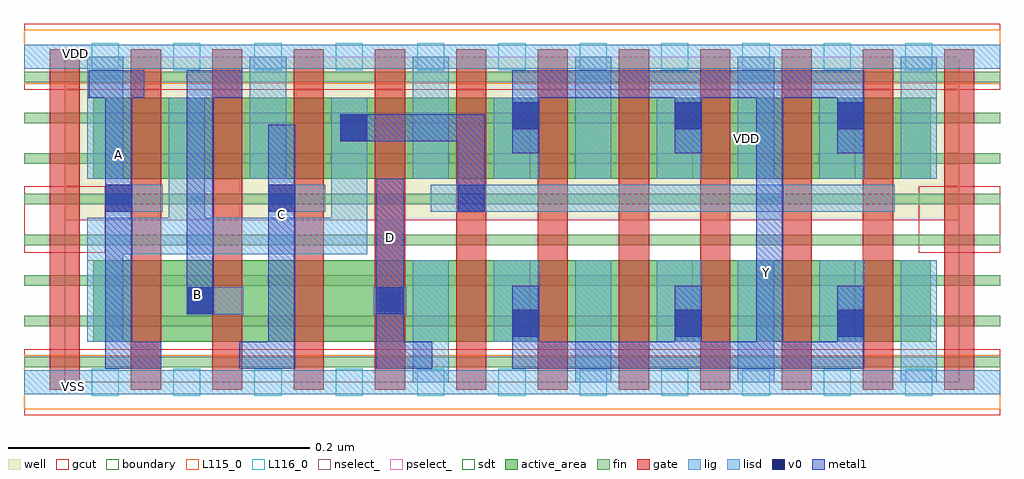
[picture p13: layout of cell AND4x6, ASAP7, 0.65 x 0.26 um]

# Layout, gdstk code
import gdstk
lib = gdstk.Library(unit=1e-6, precision=2.5e-10)
def R(c, l, rs):  # rectangles x0, y0, x1, y1
    for r in rs: c.add(gdstk.rectangle(r[:2], r[2:], *l))
def A(c, l, x, y, w, h, nx, ny, dx, dy):  # array of equal rectangles
    R(c, l, [(x+i*dx, y+j*dy, x+i*dx+w, y+j*dy+h) for i in range(nx) for j in range(ny)])
def P(c, l, *ps):  # polygons
    for p in ps: c.add(gdstk.Polygon(p, *l))
well = (1, 0)
fin = (2, 0)
gate = (7, 0)
gcut = (10, 0)
active_area = (11, 0)
nselect_ = (12, 0)
pselect_ = (13, 0)
lig = (16, 0)
lisd = (17, 0)
v0 = (18, 0)
metal1 = (19, 0)
sdt = (88, 0)
boundary = (100, 0)
L115_0 = (115, 0)
L116_0 = (116, 0)

and4x6 = lib.new_cell('AND4x6')
R(and4x6, well, [(0,0.108,0.594,0.216)])
A(and4x6, fin, -0.027, 0.01, 0.648, 0.007, 1, 8, 0, 0.027)
A(and4x6, gate, -0.01, -0.005, 0.02, 0.226, 7, 1, 0.054, 0)
A(and4x6, gate, 0.314, -0.005, 0.02, 0.226, 6, 1, 0.054, 0)
R(and4x6, gate, [(0.314,-0.005,0.334,0.221), (0.314,-0.005,0.334,0.221)])
R(and4x6, gcut, [(-0.027,-0.022,0.621,0.022), (-0.027,0.086,0.027,0.13), (0.567,0.086,0.621,0.13), (-0.027,0.194,0.621,0.238)])
R(and4x6, active_area, [(0.019,0.027,0.575,0.081), (0.019,0.135,0.575,0.189)])
R(and4x6, nselect_, [(0,0,0.594,0.108)])
R(and4x6, pselect_, [(0,0.108,0.594,0.216)])
R(and4x6, lig, [(-0.027,-0.008,0.621,0.008), (0.081,0.045,0.119,0.063), (0.205,0.045,0.227,0.063), (0.027,0.113,0.065,0.131), (0.135,0.113,0.173,0.131), (0.243,0.113,0.551,0.131), (-0.027,0.208,0.621,0.224)])
A(and4x6, lisd, 0.231, 0, 0.024, 0.081, 4, 1, 0.108, 0)
A(and4x6, lisd, 0.285, 0.027, 0.03, 0.054, 3, 2, 0.108, 0.108)
A(and4x6, lisd, 0.015, 0.135, 0.024, 0.081, 6, 1, 0.108, 0)
R(and4x6, lisd, [(0.015,0.135,0.039,0.216), (0.015,0.135,0.039,0.216)])
P(and4x6, lisd, [(0.201,0.085),(0.039,0.085),(0.039,0.027),(0.015,0.027),(0.015,0.109),(0.069,0.109),(0.069,0.189),(0.093,0.189),(0.093,0.109),(0.177,0.109),(0.177,0.189),(0.201,0.189)])
A(and4x6, v0, 0.297, 0.03, 0.018, 0.018, 3, 2, 0.108, 0.138)
R(and4x6, v0, [(0.081,0.045,0.099,0.063), (0.207,0.045,0.225,0.063), (0.027,0.113,0.045,0.131), (0.135,0.113,0.153,0.131), (0.261,0.113,0.279,0.131), (0.183,0.16,0.201,0.178)])
A(and4x6, metal1, 0.297, 0.009, 0.018, 0.055, 3, 2, 0.108, 0.143)
R(and4x6, metal1, [(0.027,0.009,0.045,0.207), (0.027,0.009,0.064,0.027), (0.116,0.009,0.153,0.027), (0.135,0.009,0.153,0.171), (0.207,0.009,0.244,0.027), (0.207,0.009,0.225,0.135), (0.297,0.009,0.531,0.027), (0.459,0.009,0.477,0.207), (0.081,0.045,0.099,0.207), (0.261,0.113,0.279,0.178), (0.183,0.16,0.279,0.178), (0.016,0.189,0.053,0.207), (0.081,0.189,0.118,0.207), (0.297,0.189,0.531,0.207)])
A(and4x6, sdt, 0.231, 0.027, 0.024, 0.054, 7, 1, 0.054, 0)
A(and4x6, sdt, 0.015, 0.135, 0.024, 0.054, 11, 1, 0.054, 0)
R(and4x6, sdt, [(0.015,0.027,0.039,0.081)])
R(and4x6, boundary, [(0,0,0.594,0.216)])
R(and4x6, L115_0, [(-0.027,-0.018,0.621,0.018), (-0.027,0.198,0.621,0.234)])
A(and4x6, L116_0, 0.018, -0.009, 0.018, 0.018, 11, 2, 0.054, 0.216)
and4x6.add(gdstk.Label('D', (0.216,0.096), layer=19, texttype=251))
and4x6.add(gdstk.Label('C', (0.144,0.111), layer=19, texttype=251))
and4x6.add(gdstk.Label('B', (0.088,0.058), layer=19, texttype=251))
and4x6.add(gdstk.Label('Y', (0.466,0.073), layer=19, texttype=251))
and4x6.add(gdstk.Label('A', (0.036,0.151), layer=19, texttype=251))
and4x6.add(gdstk.Label('VDD', (0.453,0.162), layer=1, texttype=251))
and4x6.add(gdstk.Label('VSS', (0.705,0.162), layer=3, texttype=251))
and4x6.add(gdstk.Label('VDD', (0.007,0.218), layer=115, texttype=251))
and4x6.add(gdstk.Label('VSS', (0.006,-0.003), layer=115, texttype=251))

lib.write_gds('AND4x6.gds')
